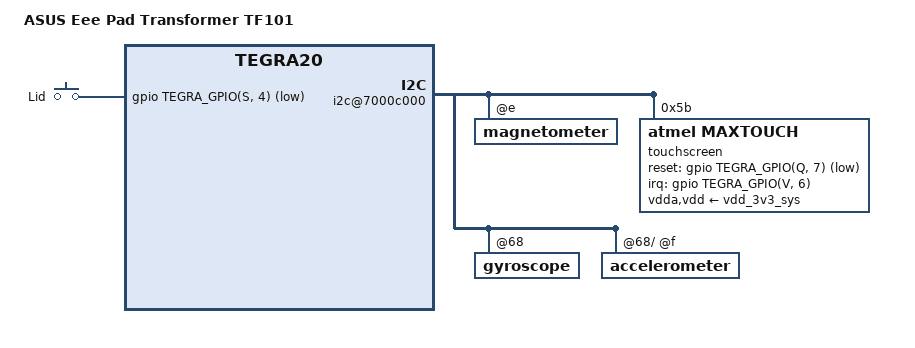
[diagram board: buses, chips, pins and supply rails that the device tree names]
// SPDX-License-Identifier: GPL-2.0
/dts-v1/;

#include "tegra20-asus-transformer-common.dtsi"

/ {
	model = "ASUS Eee Pad Transformer TF101";
	compatible = "asus,tf101", "nvidia,tegra20";

	i2c@7000c000 {
		magnetometer@e {
			mount-matrix = "-1",  "0",  "0",
					"0",  "1",  "0",
					"0",  "0", "-1";
		};

		/* Atmel MXT1386 Touchscreen */
		touchscreen@5b {
			compatible = "atmel,maxtouch";
			reg = <0x5b>;

			interrupt-parent = <&gpio>;
			interrupts = <TEGRA_GPIO(V, 6) IRQ_TYPE_LEVEL_LOW>;

			reset-gpios = <&gpio TEGRA_GPIO(Q, 7) GPIO_ACTIVE_LOW>;

			vdda-supply = <&vdd_3v3_sys>;
			vdd-supply  = <&vdd_3v3_sys>;

			atmel,wakeup-method = <ATMEL_MXT_WAKEUP_I2C_SCL>;
		};

		gyroscope@68 {
			mount-matrix =	 "0",  "1",  "0",
					"-1",  "0",  "0",
					 "0",  "0",  "1";

			i2c-gate {
				accelerometer@f {
					mount-matrix =	"-1",  "0",  "0",
							 "0", "-1",  "0",
							 "0",  "0", "-1";
				};
			};
		};
	};

	extcon-keys {
		compatible = "gpio-keys";

		switch-dock-hall-sensor {
			label = "Lid";
			gpios = <&gpio TEGRA_GPIO(S, 4) GPIO_ACTIVE_LOW>;
			linux,input-type = <EV_SW>;
			linux,code = <SW_LID>;
			debounce-interval = <500>;
			wakeup-event-action = <EV_ACT_ASSERTED>;
			wakeup-source;
		};
	};
};
